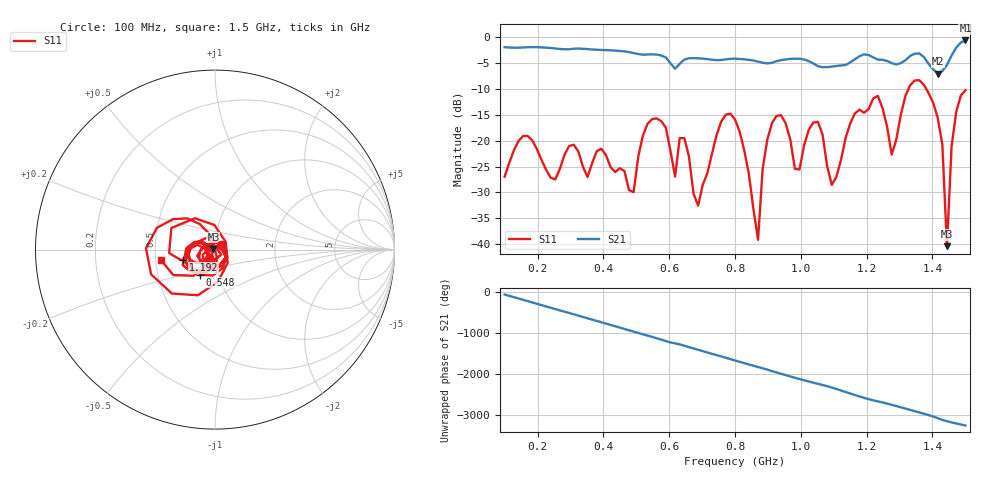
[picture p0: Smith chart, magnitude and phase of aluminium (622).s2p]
! NanoVNA-App
! Date: 2025-09-25 15:00:07
! Start: 100MHz Stop: 1,5GHz Points: 101
! S-Parameter data: F S11 S21 S12 S22
# Hz S RI R 50
!  Frequency  S11_Real  S11_Imag  S21_Real  S21_Imag  S12_Real  S12_Imag  S22_Real  S22_Imag
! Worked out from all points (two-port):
!   101 points, 100 MHz to 1.5 GHz, reference 50 ohm
!   highest |S21| = -0.62 dB at 1.5 GHz (marker M1); lowest = -7.0 dB at 1.416 GHz (marker M2)
!   |S21| within 3 dB of the highest: start of sweep to 579.3 MHz; 1.457 GHz to end of sweep (the widest 2 of 4)
!   lowest |S11| = -40.4 dB at 1.444 GHz (marker M3), VSWR 1.02, Z = 49.1 + j0.397 ohm
!   |S11| at or under -10 dB: start of sweep to 1.327 GHz; 1.381 GHz to end of sweep
!   S12 and S22 are empty: the file has one direction only
!   S11 on the Smith chart (normalised r, x): 100 MHz: 1.07, +0.06; 548 MHz: 0.82, -0.23; 1.192 GHz: 0.69, -0.08; 1.5 GHz: 0.53, -0.07
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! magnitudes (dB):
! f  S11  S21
! 100 MHz  -27.0  -1.9
! 156 MHz  -19.1  -2.0
! 338 MHz  -25.0  -2.2
! 492 MHz  -29.9  -3.1
! 548 MHz  -15.8  -3.3
! 576 MHz  -16.2  -3.5
! 688 MHz  -32.6  -4.1
! 800 MHz  -15.9  -4.1
! 870 MHz  -39.2  -4.7
! 912 MHz  -16.7  -4.9
! 996 MHz  -25.6  -4.2
! 1.038 GHz  -16.5  -5.1
! 1.094 GHz  -28.6  -5.7
! 1.192 GHz  -14.6  -3.3
! 1.234 GHz  -11.3  -4.3
! 1.276 GHz  -22.7  -5.0
! 1.346 GHz  -8.4  -3.2
! 1.416 GHz  -15.6  -7.0
! 1.43 GHz  -20.8  -6.5
! 1.444 GHz  -40.4  -5.4
! 1.458 GHz  -21.1  -3.5
! 1.5 GHz  -10.3  -0.6
